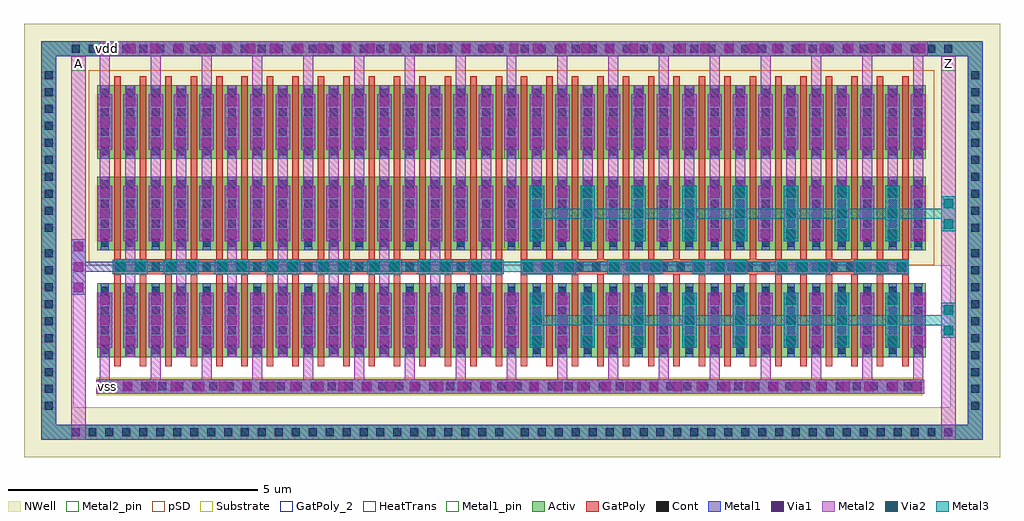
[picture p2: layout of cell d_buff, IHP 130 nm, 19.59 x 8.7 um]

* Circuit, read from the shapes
.subckt d_buff A Z vdd vss
XM1 n1 A vss vss sg13_lv_nmos w=1.48u l=0.13u m=16
XM2 Z n1 vss vss sg13_lv_nmos w=1.48u l=0.13u m=16
XM3 n1 A vdd vdd sg13_lv_pmos w=1.48u l=0.13u m=32
XM4 Z n1 vdd vdd sg13_lv_pmos w=1.48u l=0.13u m=32
.ends

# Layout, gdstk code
from math import pi, radians
import gdstk
lib = gdstk.Library(unit=1e-6, precision=1e-09)
def R(c, l, rs):  # rectangles x0, y0, x1, y1
    for r in rs: c.add(gdstk.rectangle(r[:2], r[2:], *l))
def A(c, l, x, y, w, h, nx, ny, dx, dy):  # array of equal rectangles
    R(c, l, [(x+i*dx, y+j*dy, x+i*dx+w, y+j*dy+h) for i in range(nx) for j in range(ny)])
def P(c, l, *ps):  # polygons
    for p in ps: c.add(gdstk.Polygon(p, *l))
Activ = (1, 0)
GatPoly = (5, 0)
GatPoly_2 = (5, 2)
Cont = (6, 0)
Metal1 = (8, 0)
Metal1_pin = (8, 2)
Metal2 = (10, 0)
Metal2_pin = (10, 2)
pSD = (14, 0)
Via1 = (19, 0)
Via2 = (29, 0)
Metal3 = (30, 0)
NWell = (31, 0)
Substrate = (40, 0)
HeatTrans = (51, 0)

pmos_9 = lib.new_cell('pmos$9')
A(pmos_9, Activ, 0, 0, 0.3, 0.3, 17, 1, 0.51, 0)
R(pmos_9, Activ, [(0,0,8.46,1.48)])
A(pmos_9, GatPoly, 0.34, -0.18, 0.13, 1.84, 16, 1, 0.51, 0)
R(pmos_9, GatPoly, [(0.34,-0.18,0.47,1.66)])
A(pmos_9, Cont, 0.07, 0.07, 0.16, 0.16, 17, 2, 0.51, 0.39)
A(pmos_9, Cont, 0.07, 0.855, 0.16, 0.16, 17, 2, 0.51, 0.395)
A(pmos_9, Metal1, 0.58, 0, 0.16, 1.48, 16, 1, 0.51, 0)
R(pmos_9, Metal1, [(0.07,0,0.23,1.48), (0.07,0,0.23,1.48), (0.58,0,0.74,1.48)])
R(pmos_9, pSD, [(-0.18,-0.3,8.64,1.78)])
R(pmos_9, NWell, [(-0.31,-0.31,8.77,1.79)])
R(pmos_9, Substrate, [(8.16,0,8.46,0.3)])
A(pmos_9, HeatTrans, 0.34, -0.18, 0.13, 1.84, 16, 1, 0.51, 0)
pmos_9.add(gdstk.Label('pmos', (0.405,0.74), layer=63, texttype=0))
pmos_9.add(gdstk.Label('pmos', (0.405,0.74), layer=51, texttype=0))
pmos_9.add(gdstk.Label('pmos', (0.915,0.74), layer=51, texttype=0))
pmos_9.add(gdstk.Label('pmos', (1.425,0.74), layer=51, texttype=0))
pmos_9.add(gdstk.Label('pmos', (1.935,0.74), layer=51, texttype=0))
pmos_9.add(gdstk.Label('pmos', (2.445,0.74), layer=51, texttype=0))
pmos_9.add(gdstk.Label('pmos', (2.955,0.74), layer=51, texttype=0))
pmos_9.add(gdstk.Label('pmos', (3.465,0.74), layer=51, texttype=0))
pmos_9.add(gdstk.Label('pmos', (3.975,0.74), layer=51, texttype=0))
pmos_9.add(gdstk.Label('pmos', (4.485,0.74), layer=51, texttype=0))
pmos_9.add(gdstk.Label('pmos', (4.995,0.74), layer=51, texttype=0))
pmos_9.add(gdstk.Label('pmos', (5.505,0.74), layer=51, texttype=0))
pmos_9.add(gdstk.Label('pmos', (6.015,0.74), layer=51, texttype=0))
pmos_9.add(gdstk.Label('pmos', (6.525,0.74), layer=51, texttype=0))
pmos_9.add(gdstk.Label('pmos', (7.035,0.74), layer=51, texttype=0))
pmos_9.add(gdstk.Label('pmos', (7.545,0.74), layer=51, texttype=0))
pmos_9.add(gdstk.Label('pmos', (8.055,0.74), layer=51, texttype=0))

via_stack_6 = lib.new_cell('via_stack$6')
R(via_stack_6, Metal1, [(-0.145,-0.555,0.145,0.555)])
R(via_stack_6, Metal2, [(-0.145,-0.555,0.145,0.555)])
A(via_stack_6, Via1, -0.095, -0.505, 0.19, 0.19, 1, 3, 0, 0.41)

nmos_13 = lib.new_cell('nmos$13')
A(nmos_13, Activ, 0, 0, 0.3, 0.3, 9, 1, 0.51, 0)
R(nmos_13, Activ, [(0,0,4.38,1.48)])
A(nmos_13, GatPoly, 0.34, -0.18, 0.13, 1.84, 8, 1, 0.51, 0)
R(nmos_13, GatPoly_2, [(0.34,-0.18,0.47,1.66)])
A(nmos_13, Cont, 0.07, 0.07, 0.16, 0.16, 9, 2, 0.51, 0.39)
A(nmos_13, Cont, 0.07, 0.855, 0.16, 0.16, 9, 2, 0.51, 0.395)
A(nmos_13, Metal1, 0.07, 0, 0.16, 1.48, 9, 1, 0.51, 0)
R(nmos_13, Metal1_pin, [(0.07,0,0.23,1.48), (0.58,0,0.74,1.48)])
A(nmos_13, HeatTrans, 0.34, -0.18, 0.13, 1.84, 8, 1, 0.51, 0)
nmos_13.add(gdstk.Label('nmos', (0.405,0.74), layer=63, texttype=0))
nmos_13.add(gdstk.Label('nmos', (0.405,0.74), layer=51, texttype=0))
nmos_13.add(gdstk.Label('nmos', (0.915,0.74), layer=51, texttype=0))
nmos_13.add(gdstk.Label('nmos', (1.425,0.74), layer=51, texttype=0))
nmos_13.add(gdstk.Label('nmos', (1.935,0.74), layer=51, texttype=0))
nmos_13.add(gdstk.Label('nmos', (2.445,0.74), layer=51, texttype=0))
nmos_13.add(gdstk.Label('nmos', (2.955,0.74), layer=51, texttype=0))
nmos_13.add(gdstk.Label('nmos', (3.465,0.74), layer=51, texttype=0))
nmos_13.add(gdstk.Label('nmos', (3.975,0.74), layer=51, texttype=0))

via_stack_13_1 = lib.new_cell('via_stack$13$1')
R(via_stack_13_1, Metal1, [(-0.145,-0.555,0.145,0.555)])
R(via_stack_13_1, Metal2, [(-0.145,-0.555,0.145,0.555)])
A(via_stack_13_1, Via1, -0.095, -0.505, 0.19, 0.19, 1, 3, 0, 0.41)
A(via_stack_13_1, Via2, -0.095, -0.505, 0.19, 0.19, 1, 3, 0, 0.41)
R(via_stack_13_1, Metal3, [(-0.145,-0.555,0.145,0.555)])

ptap_3 = lib.new_cell('PTap$3')
R(ptap_3, Activ, [(-8.25,-0.15,8.25,0.15)])
A(ptap_3, Cont, -8.07, -0.08, 0.16, 0.16, 48, 1, 0.34, 0)
R(ptap_3, Metal1, [(-8.25,-0.15,8.25,0.15)])
R(ptap_3, pSD, [(-8.28,-0.18,8.28,0.18)])
R(ptap_3, Substrate, [(-8.28,-0.18,8.28,0.18)])

guardring_wonwellpsub_3 = lib.new_cell('Guardring_wonwellpsub$3')
P(guardring_wonwellpsub_3, Activ, [(-9.445,-4),(-9.445,3.7),(-9.145,3.7),(-9.145,-3.7),(9.145,-3.7),(9.145,3.7),(-9.445,3.7),(-9.445,4),(9.445,4),(9.445,-4)])
A(guardring_wonwellpsub_3, Cont, -8.84, -3.93, 0.16, 0.16, 26, 2, 0.34, 7.7)
A(guardring_wonwellpsub_3, Cont, 0.18, -3.93, 0.16, 0.16, 26, 2, 0.34, 7.7)
A(guardring_wonwellpsub_3, Cont, -9.375, -3.4, 0.16, 0.16, 1, 10, 0, 0.34)
A(guardring_wonwellpsub_3, Cont, 9.215, -3.4, 0.16, 0.16, 1, 10, 0, 0.34)
A(guardring_wonwellpsub_3, Cont, -9.375, 0.18, 0.16, 0.16, 1, 10, 0, 0.34)
A(guardring_wonwellpsub_3, Cont, 9.215, 0.18, 0.16, 0.16, 1, 10, 0, 0.34)
P(guardring_wonwellpsub_3, Metal1, [(-9.445,-4),(-9.445,3.7),(-9.145,3.7),(-9.145,-3.7),(9.145,-3.7),(9.145,3.7),(-9.445,3.7),(-9.445,4),(9.445,4),(9.445,-4)])

via_stack_14 = lib.new_cell('via_stack$14')
R(via_stack_14, Metal1, [(-8.305,-0.145,8.305,0.145)])
R(via_stack_14, Metal2, [(-8.305,-0.145,8.305,0.145)])
A(via_stack_14, Via1, -8.255, -0.095, 0.19, 0.19, 35, 1, 0.48, 0)

via_stack_5_1 = lib.new_cell('via_stack$5$1')
R(via_stack_5_1, Metal2, [(-0.145,-0.35,0.145,0.35)])
R(via_stack_5_1, Via2, [(-0.095,-0.3,0.095,-0.11), (-0.095,0.11,0.095,0.3)])
R(via_stack_5_1, Metal3, [(-0.145,-0.35,0.145,0.35)])

viagpcont_m1_12 = lib.new_cell('ViaGPCont_M1$12')
R(viagpcont_m1_12, GatPoly, [(-3.89,-0.15,3.89,0.15)])
A(viagpcont_m1_12, Cont, -3.82, -0.08, 0.16, 0.16, 23, 1, 0.34, 0)
R(viagpcont_m1_12, Metal1, [(-3.87,-0.08,3.87,0.08)])

via_stack_4_2 = lib.new_cell('via_stack$4$2')
R(via_stack_4_2, Metal2, [(-0.35,-0.145,0.35,0.145)])
R(via_stack_4_2, Via2, [(-0.3,-0.095,-0.11,0.095), (0.11,-0.095,0.3,0.095)])
R(via_stack_4_2, Metal3, [(-0.35,-0.145,0.35,0.145)])

d_buff = lib.new_cell('d_buff')
R(d_buff, Metal2_pin, [(1.525,1.27,1.815,1.56), (0.95,7.76,1.24,8.05), (18.41,7.76,18.7,8.05), (1.525,8.055,1.815,8.345)])
R(d_buff, NWell, [(0,0,19.59,1), (0,0,1,3.84), (18.59,0,19.59,3.84), (0,3.84,19.59,8.7)])
d_buff.add(gdstk.FlexPath([(17.76,3.82),(9.995,3.82)], 0.2, ends="flush", simple_path=True, layer=8, datatype=0))  # Metal1
d_buff.add(gdstk.FlexPath([(9.575,3.82),(0.95,3.82)], 0.2, ends="flush", simple_path=True, layer=8, datatype=0))  # Metal1
d_buff.add(gdstk.FlexPath([(18.555,0.35),(18.555,8.05)], 0.29, ends="flush", simple_path=True, layer=10, datatype=0))  # Metal2
d_buff.add(gdstk.FlexPath([(1.095,0.35),(1.095,8.05)], 0.29, ends="flush", simple_path=True, layer=10, datatype=0))  # Metal2
d_buff.add(gdstk.FlexPath([(3.155,7.47),(3.155,2.01)], 0.2, ends="flush", simple_path=True, layer=10, datatype=0))  # Metal2
d_buff.add(gdstk.FlexPath([(2.135,7.47),(2.135,2.01)], 0.2, ends="flush", simple_path=True, layer=10, datatype=0))  # Metal2
d_buff.add(gdstk.FlexPath([(4.175,7.47),(4.175,2.01)], 0.2, ends="flush", simple_path=True, layer=10, datatype=0))  # Metal2
d_buff.add(gdstk.FlexPath([(5.195,7.47),(5.195,2.01)], 0.2, ends="flush", simple_path=True, layer=10, datatype=0))  # Metal2
d_buff.add(gdstk.FlexPath([(6.215,7.47),(6.215,2.01)], 0.2, ends="flush", simple_path=True, layer=10, datatype=0))  # Metal2
d_buff.add(gdstk.FlexPath([(7.235,7.47),(7.235,2.01)], 0.2, ends="flush", simple_path=True, layer=10, datatype=0))  # Metal2
d_buff.add(gdstk.FlexPath([(8.255,7.47),(8.255,2.01)], 0.2, ends="flush", simple_path=True, layer=10, datatype=0))  # Metal2
d_buff.add(gdstk.FlexPath([(9.275,7.47),(9.275,2.01)], 0.2, ends="flush", simple_path=True, layer=10, datatype=0))  # Metal2
d_buff.add(gdstk.FlexPath([(1.625,4.335),(1.625,8.345)], 0.2, ends="flush", simple_path=True, layer=10, datatype=0))  # Metal2
d_buff.add(gdstk.FlexPath([(2.645,4.335),(2.645,8.345)], 0.2, ends="flush", simple_path=True, layer=10, datatype=0))  # Metal2
d_buff.add(gdstk.FlexPath([(3.665,4.335),(3.665,8.345)], 0.2, ends="flush", simple_path=True, layer=10, datatype=0))  # Metal2
d_buff.add(gdstk.FlexPath([(4.685,4.335),(4.685,8.345)], 0.2, ends="flush", simple_path=True, layer=10, datatype=0))  # Metal2
d_buff.add(gdstk.FlexPath([(6.725,4.335),(6.725,8.345)], 0.2, ends="flush", simple_path=True, layer=10, datatype=0))  # Metal2
d_buff.add(gdstk.FlexPath([(7.745,4.335),(7.745,8.345)], 0.2, ends="flush", simple_path=True, layer=10, datatype=0))  # Metal2
d_buff.add(gdstk.FlexPath([(8.765,4.335),(8.765,8.345)], 0.2, ends="flush", simple_path=True, layer=10, datatype=0))  # Metal2
d_buff.add(gdstk.FlexPath([(9.785,4.335),(9.785,8.345)], 0.2, ends="flush", simple_path=True, layer=10, datatype=0))  # Metal2
d_buff.add(gdstk.FlexPath([(2.645,3.305),(2.645,1.27)], 0.2, ends="flush", simple_path=True, layer=10, datatype=0))  # Metal2
d_buff.add(gdstk.FlexPath([(3.665,3.305),(3.665,1.27)], 0.2, ends="flush", simple_path=True, layer=10, datatype=0))  # Metal2
d_buff.add(gdstk.FlexPath([(4.685,3.305),(4.685,1.27)], 0.2, ends="flush", simple_path=True, layer=10, datatype=0))  # Metal2
d_buff.add(gdstk.FlexPath([(5.705,3.305),(5.705,1.27)], 0.2, ends="flush", simple_path=True, layer=10, datatype=0))  # Metal2
d_buff.add(gdstk.FlexPath([(6.725,3.305),(6.725,1.27)], 0.2, ends="flush", simple_path=True, layer=10, datatype=0))  # Metal2
d_buff.add(gdstk.FlexPath([(7.745,3.305),(7.745,1.27)], 0.2, ends="flush", simple_path=True, layer=10, datatype=0))  # Metal2
d_buff.add(gdstk.FlexPath([(8.765,3.305),(8.765,1.27)], 0.2, ends="flush", simple_path=True, layer=10, datatype=0))  # Metal2
d_buff.add(gdstk.FlexPath([(11.315,7.47),(11.315,4.335)], 0.2, ends="flush", simple_path=True, layer=10, datatype=0))  # Metal2
d_buff.add(gdstk.FlexPath([(12.335,7.47),(12.335,4.335)], 0.2, ends="flush", simple_path=True, layer=10, datatype=0))  # Metal2
d_buff.add(gdstk.FlexPath([(13.355,7.47),(13.355,4.335)], 0.2, ends="flush", simple_path=True, layer=10, datatype=0))  # Metal2
d_buff.add(gdstk.FlexPath([(14.375,7.47),(14.375,4.335)], 0.2, ends="flush", simple_path=True, layer=10, datatype=0))  # Metal2
d_buff.add(gdstk.FlexPath([(15.395,7.47),(15.395,4.335)], 0.2, ends="flush", simple_path=True, layer=10, datatype=0))  # Metal2
d_buff.add(gdstk.FlexPath([(16.415,7.47),(16.415,4.335)], 0.2, ends="flush", simple_path=True, layer=10, datatype=0))  # Metal2
d_buff.add(gdstk.FlexPath([(17.435,7.47),(17.435,4.335)], 0.2, ends="flush", simple_path=True, layer=10, datatype=0))  # Metal2
d_buff.add(gdstk.FlexPath([(1.625,3.305),(1.625,1.27)], 0.2, ends="flush", simple_path=True, layer=10, datatype=0))  # Metal2
d_buff.add(gdstk.FlexPath([(10.295,7.47),(10.295,4.335)], 0.2, ends="flush", simple_path=True, layer=10, datatype=0))  # Metal2
d_buff.add(gdstk.FlexPath([(11.825,4.335),(11.825,8.345)], 0.2, ends="flush", simple_path=True, layer=10, datatype=0))  # Metal2
d_buff.add(gdstk.FlexPath([(12.845,4.335),(12.845,8.345)], 0.2, ends="flush", simple_path=True, layer=10, datatype=0))  # Metal2
d_buff.add(gdstk.FlexPath([(13.865,4.335),(13.865,8.345)], 0.2, ends="flush", simple_path=True, layer=10, datatype=0))  # Metal2
d_buff.add(gdstk.FlexPath([(14.885,4.335),(14.885,8.345)], 0.2, ends="flush", simple_path=True, layer=10, datatype=0))  # Metal2
d_buff.add(gdstk.FlexPath([(15.905,4.335),(15.905,8.345)], 0.2, ends="flush", simple_path=True, layer=10, datatype=0))  # Metal2
d_buff.add(gdstk.FlexPath([(16.925,4.335),(16.925,8.345)], 0.2, ends="flush", simple_path=True, layer=10, datatype=0))  # Metal2
d_buff.add(gdstk.FlexPath([(17.945,4.335),(17.945,8.345)], 0.2, ends="flush", simple_path=True, layer=10, datatype=0))  # Metal2
d_buff.add(gdstk.FlexPath([(10.805,3.305),(10.805,1.27)], 0.2, ends="flush", simple_path=True, layer=10, datatype=0))  # Metal2
d_buff.add(gdstk.FlexPath([(11.825,3.305),(11.825,1.27)], 0.2, ends="flush", simple_path=True, layer=10, datatype=0))  # Metal2
d_buff.add(gdstk.FlexPath([(12.845,3.305),(12.845,1.27)], 0.2, ends="flush", simple_path=True, layer=10, datatype=0))  # Metal2
d_buff.add(gdstk.FlexPath([(13.865,3.305),(13.865,1.27)], 0.2, ends="flush", simple_path=True, layer=10, datatype=0))  # Metal2
d_buff.add(gdstk.FlexPath([(14.885,3.305),(14.885,1.27)], 0.2, ends="flush", simple_path=True, layer=10, datatype=0))  # Metal2
d_buff.add(gdstk.FlexPath([(15.905,3.305),(15.905,1.27)], 0.2, ends="flush", simple_path=True, layer=10, datatype=0))  # Metal2
d_buff.add(gdstk.FlexPath([(9.785,3.305),(9.785,1.27)], 0.2, ends="flush", simple_path=True, layer=10, datatype=0))  # Metal2
d_buff.add(gdstk.FlexPath([(16.925,3.305),(16.925,1.27)], 0.2, ends="flush", simple_path=True, layer=10, datatype=0))  # Metal2
d_buff.add(gdstk.FlexPath([(17.945,3.305),(17.945,1.27)], 0.2, ends="flush", simple_path=True, layer=10, datatype=0))  # Metal2
d_buff.add(gdstk.FlexPath([(10.805,4.335),(10.805,8.345)], 0.2, ends="flush", simple_path=True, layer=10, datatype=0))  # Metal2
d_buff.add(gdstk.FlexPath([(5.705,4.335),(5.705,8.345)], 0.2, ends="flush", simple_path=True, layer=10, datatype=0))  # Metal2
d_buff.add(gdstk.FlexPath([(17.76,3.82),(2.035,3.82)], 0.2, ends="flush", simple_path=True, layer=30, datatype=0))  # Metal3
d_buff.add(gdstk.FlexPath([(10.15,4.89),(18.7,4.89)], 0.2, ends="flush", simple_path=True, layer=30, datatype=0))  # Metal3
d_buff.add(gdstk.FlexPath([(10.15,2.75),(18.7,2.75)], 0.2, ends="flush", simple_path=True, layer=30, datatype=0))  # Metal3
d_buff.add(gdstk.Reference(pmos_9, (1.475,5.99)))
d_buff.add(gdstk.Reference(via_stack_6, (1.625,4.89)))
d_buff.add(gdstk.Reference(via_stack_6, (2.135,4.89)))
d_buff.add(gdstk.Reference(via_stack_6, (2.645,4.89)))
d_buff.add(gdstk.Reference(via_stack_6, (3.155,4.89)))
d_buff.add(gdstk.Reference(via_stack_6, (3.665,4.89)))
d_buff.add(gdstk.Reference(via_stack_6, (4.175,4.89)))
d_buff.add(gdstk.Reference(via_stack_6, (4.685,4.89)))
d_buff.add(gdstk.Reference(via_stack_6, (5.195,4.89)))
d_buff.add(gdstk.Reference(via_stack_6, (5.705,4.89)))
d_buff.add(gdstk.Reference(via_stack_6, (6.215,4.89)))
d_buff.add(gdstk.Reference(via_stack_6, (6.725,4.89)))
d_buff.add(gdstk.Reference(via_stack_6, (7.235,4.89)))
d_buff.add(gdstk.Reference(via_stack_6, (7.745,4.89)))
d_buff.add(gdstk.Reference(via_stack_6, (8.255,4.89)))
d_buff.add(gdstk.Reference(via_stack_6, (8.765,4.89)))
d_buff.add(gdstk.Reference(via_stack_6, (9.275,4.89)))
d_buff.add(gdstk.Reference(via_stack_6, (9.785,4.89)))
d_buff.add(gdstk.Reference(pmos_9, (9.635,5.99)))
d_buff.add(gdstk.Reference(nmos_13, (9.635,2.01)))
d_buff.add(gdstk.Reference(via_stack_13_1, (10.295,4.89)))
d_buff.add(gdstk.Reference(via_stack_6, (10.805,4.89)))
d_buff.add(gdstk.Reference(via_stack_13_1, (11.315,4.89)))
d_buff.add(gdstk.Reference(via_stack_6, (11.825,4.89)))
d_buff.add(gdstk.Reference(via_stack_13_1, (12.335,4.89)))
d_buff.add(gdstk.Reference(via_stack_6, (12.845,4.89)))
d_buff.add(gdstk.Reference(via_stack_13_1, (13.355,4.89)))
d_buff.add(gdstk.Reference(via_stack_6, (13.865,4.89)))
d_buff.add(gdstk.Reference(via_stack_13_1, (14.375,4.89)))
d_buff.add(gdstk.Reference(via_stack_6, (14.885,4.89)))
d_buff.add(gdstk.Reference(via_stack_13_1, (15.395,4.89)))
d_buff.add(gdstk.Reference(via_stack_6, (15.905,4.89)))
d_buff.add(gdstk.Reference(via_stack_13_1, (16.415,4.89)))
d_buff.add(gdstk.Reference(via_stack_6, (16.925,4.89)))
d_buff.add(gdstk.Reference(via_stack_13_1, (17.435,4.89)))
d_buff.add(gdstk.Reference(via_stack_6, (17.945,4.89)))
d_buff.add(gdstk.Reference(pmos_9, (1.475,4.15)))
d_buff.add(gdstk.Reference(pmos_9, (9.635,4.15)))
d_buff.add(gdstk.Reference(via_stack_6, (9.785,6.73)))
d_buff.add(gdstk.Reference(nmos_13, (5.555,2.01)))
d_buff.add(gdstk.Reference(via_stack_6, (9.785,2.75)))
d_buff.add(gdstk.Reference(via_stack_6, (1.095,3.82)))
d_buff.add(gdstk.Reference(ptap_3, (9.745,1.42)))
d_buff.add(gdstk.Reference(guardring_wonwellpsub_3, (9.795,4.35)))
d_buff.add(gdstk.Reference(via_stack_14, (9.83,8.2)))
d_buff.add(gdstk.Reference(via_stack_14, (9.76,1.415)))
d_buff.add(gdstk.Reference(via_stack_6, (15.395,6.73)))
d_buff.add(gdstk.Reference(via_stack_6, (15.905,6.73)))
d_buff.add(gdstk.Reference(via_stack_6, (16.415,6.73)))
d_buff.add(gdstk.Reference(via_stack_6, (16.925,6.73)))
d_buff.add(gdstk.Reference(via_stack_6, (17.435,6.73)))
d_buff.add(gdstk.Reference(via_stack_6, (17.945,6.73)))
d_buff.add(gdstk.Reference(via_stack_6, (10.295,6.73)))
d_buff.add(gdstk.Reference(via_stack_6, (10.805,6.73)))
d_buff.add(gdstk.Reference(via_stack_6, (11.315,6.73)))
d_buff.add(gdstk.Reference(via_stack_6, (11.825,6.73)))
d_buff.add(gdstk.Reference(via_stack_6, (12.335,6.73)))
d_buff.add(gdstk.Reference(via_stack_5_1, (18.555,4.89)))
d_buff.add(gdstk.Reference(via_stack_6, (12.845,6.73)))
d_buff.add(gdstk.Reference(via_stack_6, (13.355,6.73)))
d_buff.add(gdstk.Reference(via_stack_6, (13.865,6.73)))
d_buff.add(gdstk.Reference(via_stack_6, (14.375,6.73)))
d_buff.add(gdstk.Reference(via_stack_6, (14.885,6.73)))
d_buff.add(gdstk.Reference(via_stack_6, (7.745,6.73)))
d_buff.add(gdstk.Reference(via_stack_6, (8.255,6.73)))
d_buff.add(gdstk.Reference(via_stack_6, (8.765,6.73)))
d_buff.add(gdstk.Reference(via_stack_6, (9.275,6.73)))
d_buff.add(gdstk.Reference(via_stack_6, (3.155,6.73)))
d_buff.add(gdstk.Reference(via_stack_6, (1.625,6.73)))
d_buff.add(gdstk.Reference(via_stack_6, (2.135,6.73)))
d_buff.add(gdstk.Reference(via_stack_6, (2.645,6.73)))
d_buff.add(gdstk.Reference(via_stack_6, (3.665,6.73)))
d_buff.add(gdstk.Reference(via_stack_6, (4.175,6.73)))
d_buff.add(gdstk.Reference(via_stack_6, (4.685,6.73)))
d_buff.add(gdstk.Reference(via_stack_6, (5.195,6.73)))
d_buff.add(gdstk.Reference(via_stack_6, (5.705,6.73)))
d_buff.add(gdstk.Reference(via_stack_6, (6.215,6.73)))
d_buff.add(gdstk.Reference(via_stack_6, (6.725,6.73)))
d_buff.add(gdstk.Reference(via_stack_6, (7.235,6.73)))
d_buff.add(gdstk.Reference(via_stack_6, (7.745,2.75)))
d_buff.add(gdstk.Reference(via_stack_6, (8.255,2.75)))
d_buff.add(gdstk.Reference(nmos_13, (1.475,2.01)))
d_buff.add(gdstk.Reference(via_stack_6, (3.665,2.75)))
d_buff.add(gdstk.Reference(viagpcont_m1_12, (5.705,3.82)))
d_buff.add(gdstk.Reference(via_stack_6, (2.645,2.75)))
d_buff.add(gdstk.Reference(via_stack_6, (1.625,2.75)))
d_buff.add(gdstk.Reference(via_stack_6, (4.175,2.75)))
d_buff.add(gdstk.Reference(via_stack_6, (8.765,2.75)))
d_buff.add(gdstk.Reference(via_stack_6, (2.135,2.75)))
d_buff.add(gdstk.Reference(via_stack_6, (9.275,2.75)))
d_buff.add(gdstk.Reference(via_stack_4_2, (2.135,3.82)))
d_buff.add(gdstk.Reference(via_stack_4_2, (3.155,3.82)))
d_buff.add(gdstk.Reference(via_stack_6, (3.155,2.75)))
d_buff.add(gdstk.Reference(via_stack_4_2, (4.175,3.82)))
d_buff.add(gdstk.Reference(via_stack_4_2, (5.195,3.82)))
d_buff.add(gdstk.Reference(via_stack_4_2, (6.215,3.82)))
d_buff.add(gdstk.Reference(via_stack_4_2, (7.235,3.82)))
d_buff.add(gdstk.Reference(via_stack_4_2, (8.255,3.82)))
d_buff.add(gdstk.Reference(via_stack_4_2, (9.275,3.82)))
d_buff.add(gdstk.Reference(via_stack_6, (4.685,2.75)))
d_buff.add(gdstk.Reference(via_stack_6, (5.195,2.75)))
d_buff.add(gdstk.Reference(via_stack_6, (5.705,2.75)))
d_buff.add(gdstk.Reference(via_stack_6, (6.215,2.75)))
d_buff.add(gdstk.Reference(via_stack_6, (6.725,2.75)))
d_buff.add(gdstk.Reference(via_stack_6, (7.235,2.75)))
d_buff.add(gdstk.Reference(via_stack_6, (17.945,2.75)))
d_buff.add(gdstk.Reference(via_stack_6, (12.845,2.75)))
d_buff.add(gdstk.Reference(via_stack_6, (16.925,2.75)))
d_buff.add(gdstk.Reference(via_stack_13_1, (10.295,2.75)))
d_buff.add(gdstk.Reference(via_stack_13_1, (17.435,2.75)))
d_buff.add(gdstk.Reference(via_stack_13_1, (13.355,2.75)))
d_buff.add(gdstk.Reference(via_stack_6, (13.865,2.75)))
d_buff.add(gdstk.Reference(via_stack_13_1, (14.375,2.75)))
d_buff.add(gdstk.Reference(via_stack_6, (14.885,2.75)))
d_buff.add(gdstk.Reference(via_stack_13_1, (15.395,2.75)))
d_buff.add(gdstk.Reference(via_stack_6, (15.905,2.75)))
d_buff.add(gdstk.Reference(via_stack_13_1, (16.415,2.75)))
d_buff.add(gdstk.Reference(via_stack_13_1, (10.53,3.82), rotation=3*pi/2))
d_buff.add(gdstk.Reference(via_stack_13_1, (12.26,3.82), rotation=3*pi/2))
d_buff.add(gdstk.Reference(via_stack_13_1, (13.965,3.82), rotation=3*pi/2))
d_buff.add(gdstk.Reference(via_stack_13_1, (15.63,3.82), rotation=3*pi/2))
d_buff.add(gdstk.Reference(via_stack_13_1, (17.205,3.82), rotation=3*pi/2))
d_buff.add(gdstk.Reference(viagpcont_m1_12, (13.865,3.82)))
d_buff.add(gdstk.Reference(via_stack_5_1, (18.555,2.75)))
d_buff.add(gdstk.Reference(nmos_13, (13.715,2.01)))
d_buff.add(gdstk.Reference(via_stack_6, (10.805,2.75)))
d_buff.add(gdstk.Reference(via_stack_13_1, (11.315,2.75)))
d_buff.add(gdstk.Reference(via_stack_6, (11.825,2.75)))
d_buff.add(gdstk.Reference(via_stack_13_1, (12.335,2.75)))
d_buff.add(gdstk.Label('Z', (18.555,7.905), layer=10, texttype=25))
d_buff.add(gdstk.Label('vss', (1.67,1.415), layer=10, texttype=25))
d_buff.add(gdstk.Label('vdd', (1.67,8.2), layer=10, texttype=25))
d_buff.add(gdstk.Label('A', (1.095,7.905), layer=10, texttype=25))

lib.write_gds('d_buff.gds')
